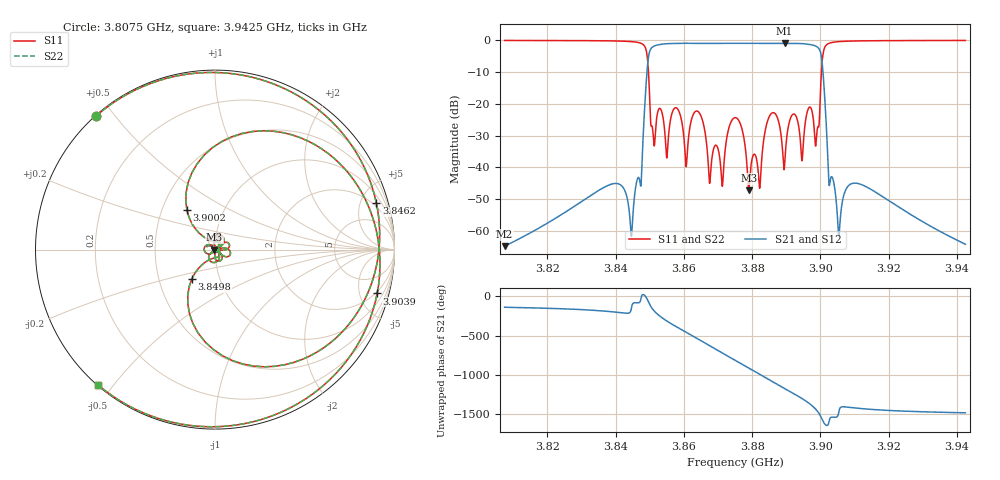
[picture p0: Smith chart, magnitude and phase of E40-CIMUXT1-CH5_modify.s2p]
! Created with skrf 1.9.0 (http://scikit-rf.org).
! Parameters = {f0=3875.0; bw=45.0; Q=5400.0; N=12; FILTER_NAME=E40-CIMUXT1-CH5; f_start_mhz=3833.5; f_stop_mhz=3915.5; m_0_1=1.1036282777786255; m_1_1=-0.005830775946378708; m_1_2=0.9416355490684509; m_2_2=0.0006298502557910979; m_2_3=0.6573432087898254; m_2_10=4.087266916030785e-07; m_2_11=0.02140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
# Hz S RI R 50.0
!freq ReS11 ImS11 ReS21 ImS21 ReS12 ImS12 ReS22 ImS22
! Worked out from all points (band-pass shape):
!   2001 points, 3.8075 GHz to 3.9425 GHz, reference 50 ohm
!   highest |S21| = -0.91 dB at 3.8895 GHz (marker M1); lowest = -64.8 dB at 3.8075 GHz (marker M2)
!   |S21| within 3 dB of the highest: 3.8499 GHz to 3.9001 GHz (50.2 MHz wide, 1.3 % of centre)
!   lowest |S11| = -47.2 dB at 3.879 GHz (marker M3), VSWR 1.01, Z = 49.6 - j0.00834 ohm
!   |S11| at or under -10 dB: 3.8497 GHz to 3.9003 GHz (50.67 MHz wide, 1.31 % of centre)
!   |S22| runs from -47.2 to 0.0 dB; largest |S21 - S12| = 7.2e-07
!   S11 on the Smith chart (normalised r, x): 3.8075 GHz: 0.00, +0.45; 3.8462 GHz: 1.62, +6.72; 3.8498 GHz: 0.73, -0.25; 3.9002 GHz: 0.67, +0.32; 3.9039 GHz: 1.80, -7.08; 3.9425 GHz: 0.00, -0.46
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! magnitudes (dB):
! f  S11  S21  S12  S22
! 3.8075 GHz  0.0  -64.8  -64.8  0.0
! 3.83 GHz  -0.1  -50.7  -50.7  -0.1
! 3.841 GHz  -0.2  -45.2  -45.2  -0.2
! 3.8446 GHz  -0.4  -61.2  -61.2  -0.4
! 3.8462 GHz  -0.6  -44.6  -44.6  -0.6
! 3.8498 GHz  -13.5  -4.2  -4.2  -13.5
! 3.851 GHz  -29.0  -2.0  -2.0  -29.0
! 3.8525 GHz  -22.0  -1.4  -1.4  -22.0
! 3.8607 GHz  -39.8  -0.9  -0.9  -39.8
! 3.8643 GHz  -22.5  -1.0  -1.0  -22.5
! 3.8712 GHz  -45.7  -0.9  -0.9  -45.7
! 3.875 GHz  -24.3  -0.9  -0.9  -24.3
! 3.879 GHz  -47.2  -0.9  -0.9  -47.2
! 3.8859 GHz  -22.8  -1.0  -1.0  -22.8
! 3.8895 GHz  -39.6  -0.9  -0.9  -39.6
! 3.8975 GHz  -22.2  -1.4  -1.4  -22.2
! 3.899 GHz  -28.6  -2.0  -2.0  -28.6
! 3.9002 GHz  -11.4  -4.7  -4.7  -11.4
! 3.9039 GHz  -0.6  -44.5  -44.5  -0.6
! 3.9055 GHz  -0.4  -61.1  -61.1  -0.4
! 3.92 GHz  -0.1  -50.4  -50.4  -0.1
! 3.9425 GHz  0.0  -64.2  -64.2  0.0
